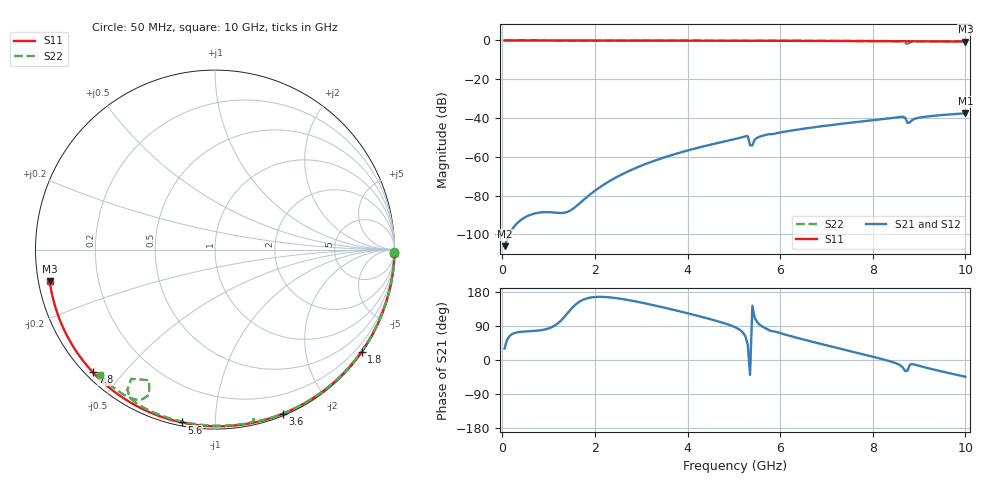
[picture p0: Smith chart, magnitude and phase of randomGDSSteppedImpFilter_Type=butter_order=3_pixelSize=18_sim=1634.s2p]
! freq	dB(S11)	phase(S11)	dB(S12)	phase(S12)
!  dB(S21)	phase(S21)	dB(S22)	phase(S22)
!S-par simulation data
#  GHz  S  DB  R 50
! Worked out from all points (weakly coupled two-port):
!   200 points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, 50 MHz to 10 GHz, reference 50 ohm
!   highest |S21| = -37.56 dB at 10 GHz (marker M1); lowest = -106.1 dB at 50 MHz (marker M2)
!   lowest |S11| = -0.6 dB at 10 GHz (marker M3), VSWR 31.08, Z = 1.62 - j4.74 ohm
!   |S11| at or under -10 dB: nowhere
!   |S22| runs from -1.8 to 0.0 dB; largest |S21 - S12| = 0
!   S11 on the Smith chart (normalised r, x): 50 MHz: open; 1.8 GHz: 0.03, -3.19; 3.6 GHz: 0.02, -1.49; 5.6 GHz: 0.02, -0.82; 7.8 GHz: 0.02, -0.41; 10 GHz: 0.03, -0.09
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0.05  -0.00 -1.0  -106.08 30.3  -106.08 30.3  -0.00 -0.8
0.85  -0.02 -16.6  -88.62 78.8  -88.62 78.8  -0.02 -13.0
1.75  -0.04 -33.9  -82.33 159.2  -82.33 159.2  -0.03 -26.6
1.8  -0.04 -34.8  -81.31 161.5  -81.31 161.5  -0.03 -27.3
2.6  -0.06 -49.7  -68.84 160.7  -68.84 160.7  -0.05 -39.1
3.4  -0.09 -64.1  -61.08 140.9  -61.08 140.9  -0.07 -50.5
3.6  -0.09 -67.6  -59.53 135.2  -59.53 135.2  -0.07 -53.4
5.05  -0.14 -92.1  -50.70 85.2  -50.70 85.2  -0.11 -73.2
5.3  -0.15 -96.2  -49.25 40.9  -49.25 40.9  -0.17 -76.9
5.35  -0.17 -97.0  -54.12 -39.5  -54.12 -39.5  -0.29 -77.2
5.4  -0.16 -97.7  -54.06 143.2  -54.06 143.2  -0.19 -77.2
5.45  -0.16 -98.5  -51.17 111.9  -51.17 111.9  -0.15 -78.0
5.6  -0.17 -101.0  -49.25 89.5  -49.25 89.5  -0.14 -80.2
6.7  -0.23 -118.2  -44.86 47.9  -44.86 47.9  -0.18 -94.2
7.8  -0.32 -135.0  -41.66 14.7  -41.66 14.7  -0.25 -107.9
8.35  -0.37 -143.4  -40.19 -2.5  -40.19 -2.5  -0.31 -115.2
8.65  -0.40 -148.0  -39.28 -20.1  -39.28 -20.1  -0.71 -122.0
8.7  -0.40 -148.8  -39.88 -29.0  -39.88 -29.0  -1.33 -122.9
8.75  -0.41 -149.5  -42.53 -28.2  -42.53 -28.2  -1.78 -116.8
8.8  -0.41 -150.3  -42.22 -12.6  -42.22 -12.6  -1.03 -114.4
8.9  -0.42 -151.9  -40.48 -12.0  -40.48 -12.0  -0.53 -117.2
10  -0.56 -169.2  -37.56 -44.2  -37.56 -44.2  -0.46 -132.4
